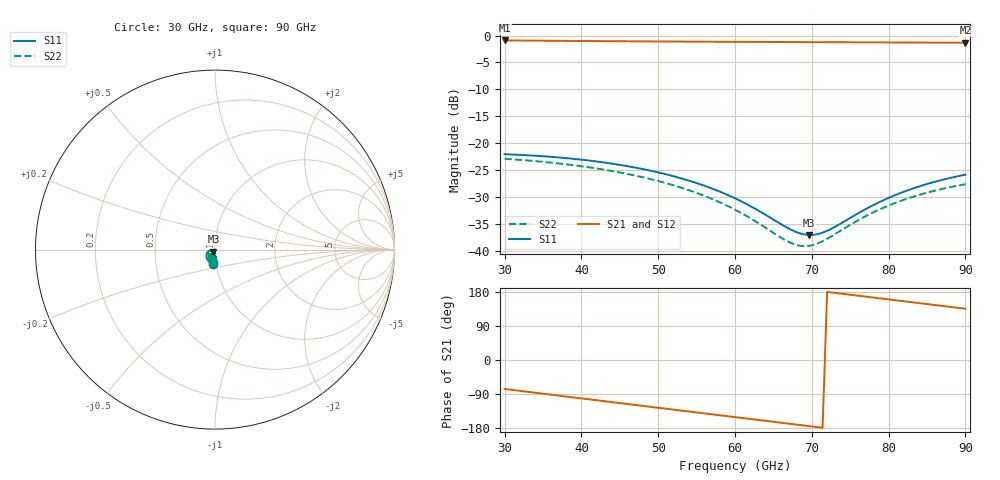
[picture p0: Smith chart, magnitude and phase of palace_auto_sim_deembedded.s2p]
! Created with skrf 1.11.0 (http://scikit-rf.org).
# GHz S DB R 50.0
!freq dBS11 angS11 dBS21 angS21 dBS12 angS12 dBS22 angS22
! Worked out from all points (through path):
!   101 points, 30 GHz to 90 GHz, reference 50 ohm
!   highest |S21| = -0.91 dB at 30 GHz (marker M1); lowest = -1.3 dB at 90 GHz (marker M2)
!   group delay of S21, straight-line fit = 6.86 ps
!   lowest |S11| = -37.1 dB at 69.6 GHz (marker M3), VSWR 1.03, Z = 49.1 - j1.07 ohm
!   |S11| at or under -10 dB: start of sweep to end of sweep
!   |S22| runs from -39.2 to -22.9 dB; largest |S21 - S12| = 1e-13
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30  -22.06 -97.4  -0.91 -76.4  -0.91 -76.4  -22.91 -100.1
34.8  -22.42 -111.6  -0.96 -88.4  -0.96 -88.4  -23.45 -115.3
37.2  -22.68 -118.4  -0.98 -94.4  -0.98 -94.4  -23.81 -122.7
40.2  -23.11 -126.5  -1.01 -101.8  -1.01 -101.8  -24.34 -131.7
45  -24.05 -138.8  -1.05 -113.7  -1.05 -113.7  -25.46 -145.3
50.4  -25.59 -151.2  -1.10 -127.1  -1.10 -127.1  -27.20 -159.1
53.4  -26.72 -157.1  -1.12 -134.5  -1.12 -134.5  -28.47 -165.8
55.8  -27.82 -161.0  -1.13 -140.4  -1.13 -140.4  -29.68 -170.3
60  -30.26 -165.0  -1.16 -150.7  -1.16 -150.7  -32.37 -175.0
63.6  -33.01 -162.7  -1.18 -159.6  -1.18 -159.6  -35.39 -172.3
66  -35.08 -155.0  -1.20 -165.5  -1.20 -165.5  -37.59 -163.0
67.2  -36.03 -148.2  -1.20 -168.5  -1.20 -168.5  -38.51 -154.9
68.4  -36.76 -139.3  -1.21 -171.5  -1.21 -171.5  -39.07 -144.7
69.6  -37.09 -128.7  -1.22 -174.4  -1.22 -174.4  -39.12 -133.6
70.2  -37.06 -123.3  -1.22 -175.9  -1.22 -175.9  -38.93 -128.2
71.4  -36.66 -113.0  -1.23 -178.9  -1.23 -178.9  -38.24 -118.8
72.6  -35.89 -104.5  -1.23 178.2  -1.23 178.2  -37.28 -111.8
76.8  -32.44 -90.0  -1.26 167.8  -1.26 167.8  -33.75 -102.2
80.4  -29.94 -88.8  -1.28 158.9  -1.28 158.9  -31.38 -103.7
82.8  -28.62 -90.6  -1.29 153.0  -1.29 153.0  -30.15 -106.8
85.2  -27.52 -93.4  -1.30 147.1  -1.30 147.1  -29.14 -110.8
90  -25.87 -100.8  -1.33 135.3  -1.33 135.3  -27.65 -120.4
